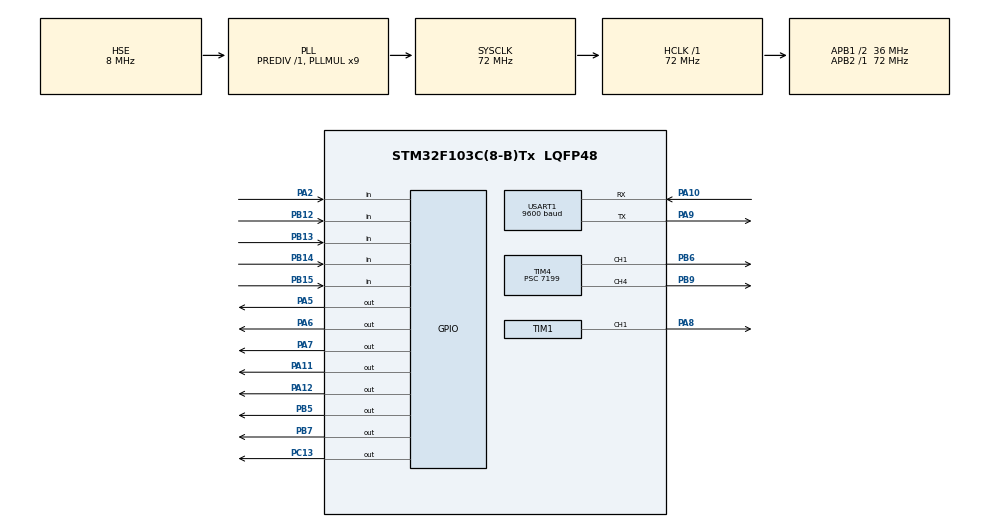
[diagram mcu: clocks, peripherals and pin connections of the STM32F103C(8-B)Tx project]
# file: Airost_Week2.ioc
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Mcu.Family=STM32F1
Mcu.Name=STM32F103C(8-B)Tx
Mcu.Package=LQFP48
NVIC.PriorityGroup=NVIC_PRIORITYGROUP_4
NVIC.USART1_IRQn=true\:0\:0\:false\:false\:true\:true\:true\:true
PA10.Mode=Asynchronous
PA10.Signal=USART1_RX
PA11.Signal=GPIO_Output
PA12.Signal=GPIO_Output
PA13.Mode=Serial_Wire
PA13.Signal=SYS_JTMS-SWDIO
PA14.Mode=Serial_Wire
PA14.Signal=SYS_JTCK-SWCLK
PA2.GPIO_PuPd=GPIO_PULLUP
PA2.Signal=GPIO_Input
PA5.Signal=GPIO_Output
PA6.Signal=GPIO_Output
PA7.Signal=GPIO_Output
PA8.Signal=S_TIM1_CH1
PA9.Mode=Asynchronous
PA9.Signal=USART1_TX
PB12.Signal=GPIO_Input
PB13.Signal=GPIO_Input
PB14.Signal=GPIO_Input
PB15.Signal=GPIO_Input
PB5.Signal=GPIO_Output
PB6.Signal=S_TIM4_CH1
PB7.Signal=GPIO_Output
PB9.Signal=S_TIM4_CH4
PC13-TAMPER-RTC.Signal=GPIO_Output
PD0-OSC_IN.Mode=HSE-External-Oscillator
PD0-OSC_IN.Signal=RCC_OSC_IN
PD1-OSC_OUT.Mode=HSE-External-Oscillator
PD1-OSC_OUT.Signal=RCC_OSC_OUT
ProjectManager.HeapSize=0x200
ProjectManager.StackSize=0x400
ProjectManager.TargetToolchain=STM32CubeIDE
RCC.AHBFreq_Value=72000000
RCC.APB1CLKDivider=RCC_HCLK_DIV2
RCC.APB1Freq_Value=36000000
RCC.APB1TimFreq_Value=72000000
RCC.APB2Freq_Value=72000000
RCC.APB2TimFreq_Value=72000000
RCC.HCLKFreq_Value=72000000
RCC.PLLMUL=RCC_PLL_MUL9
RCC.PLLSourceVirtual=RCC_PLLSOURCE_HSE
RCC.SYSCLKFreq_VALUE=72000000
RCC.SYSCLKSource=RCC_SYSCLKSOURCE_PLLCLK
RCC.USBFreq_Value=72000000
SH.S_TIM1_CH1.0=TIM1_CH1,PWM Generation1 CH1
SH.S_TIM4_CH1.0=TIM4_CH1,PWM Generation1 CH1
SH.S_TIM4_CH4.0=TIM4_CH4,PWM Generation4 CH4
TIM1.Channel-PWM\ Generation1\ CH1=TIM_CHANNEL_1
TIM1.Period=199
TIM1.Prescaler=7199
TIM4.Channel-PWM\ Generation1\ CH1=TIM_CHANNEL_1
TIM4.Channel-PWM\ Generation4\ CH4=TIM_CHANNEL_4
TIM4.Period=199
TIM4.Prescaler=7199
USART1.BaudRate=9600
USART1.VirtualMode=VM_ASYNC
VP_TIM1_VS_ClockSourceINT.Mode=Internal
VP_TIM4_VS_ClockSourceINT.Mode=Internal
board=custom

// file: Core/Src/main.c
/* USER CODE BEGIN Header */
/**
  ******************************************************************************
  * @file           : main.c
  * @brief          : Main program body
  ******************************************************************************
  * @attention
  *
  * Copyright (c) 2025 STMicroelectronics.
  * All rights reserved.
  *
  * This software is licensed under terms that can be found in the LICENSE file
  * in the root directory of this software component.
  * If no LICENSE file comes with this software, it is provided AS-IS.
  *
  ******************************************************************************
  */
/* USER CODE END Header */
#include "main.h"

/* USER CODE BEGIN Includes */
#include <stdio.h>
#include <string.h>
/* USER CODE END Includes */

TIM_HandleTypeDef htim1;
TIM_HandleTypeDef htim4;

UART_HandleTypeDef huart1;

/* USER CODE BEGIN PV */
uint8_t rxByte;
uint8_t buttonPrev = 1;
uint32_t buttonDebounce = 0;
volatile uint8_t mode = 1;
volatile uint8_t manualReturnFlag = 0;
uint8_t prev_mode = 1;
volatile uint8_t control = 's';
volatile uint8_t servo = 'R';
char uartBuffer[32];
uint8_t uartIndex = 0;
volatile uint16_t SB=600, J1B=6000, J1F=125, J2B=1500, J2F=125, R1B=500, RBS=6000, LL=1000, RB=8000, RIF=120, CD2 =400;
uint8_t irValue = 0;

static uint8_t case2_triggered = 0;
static uint32_t case2_startTick = 0;
static uint8_t junctionDetected = 0;
static uint32_t cooldown1 = 0;
static uint16_t junctionCounter = 0;
static uint32_t junctionStartTime = 0;
static uint8_t lastSent = 0;

static uint8_t junction2Detected = 0;
static uint32_t cooldown2 = 0;
static uint16_t junction2Counter = 0;
static uint32_t junction2StartTime = 0;
static uint8_t lastSentJ2 = 0;
static uint8_t j2StopTrigger = 0;
static uint32_t j2StartTick = 0;

static uint32_t RotateStartTime = 0;
static uint8_t rotated = 0;
static uint32_t settleStart = 0;

static uint32_t RotateBackStartTime = 0;
static uint8_t reach = 0;

static uint32_t ReturnStartTime = 0;
static uint8_t returnIndicationDetected = 0;
static uint16_t returnIndicationCounter = 0;
static uint32_t returnIndicationStartTime = 0;
/* USER CODE END PV */

void SystemClock_Config(void);
static void MX_GPIO_Init(void);
static void MX_USART1_UART_Init(void);
static void MX_TIM1_Init(void);
static void MX_TIM4_Init(void);

/* USER CODE BEGIN 0 */
void Forward(void);
void ForwardFast(void);
void Backward(void);
void Left(void);
void LeftFast(void);
void Right(void);
void Stop(void);
void Grip(void);
void Release(void);
void ModeLED(uint8_t);
void parseCommand(char *);
void parseMultipleCommands(char *);
/* USER CODE END 0 */

int main(void)
{

  /* MCU Configuration--------------------------------------------------------*/

  /* Reset of all peripherals, Initializes the Flash interface and the Systick. */
  HAL_Init();

  /* Configure the system clock */
  SystemClock_Config();

  /* Initialize all configured peripherals */
  MX_GPIO_Init();
  MX_USART1_UART_Init();
  MX_TIM1_Init();
  MX_TIM4_Init();
  /* USER CODE BEGIN 2 */
  HAL_UART_Receive_IT(&huart1, &rxByte, 1);
  HAL_TIM_PWM_Start(&htim1, TIM_CHANNEL_1); // motor
  HAL_TIM_PWM_Start(&htim4, TIM_CHANNEL_1); // motor
  HAL_TIM_PWM_Start(&htim4, TIM_CHANNEL_4); // servo
  __HAL_TIM_SET_COMPARE(&htim4, TIM_CHANNEL_4, 24);

  /* USER CODE END 2 */

  /* Infinite loop */
  while (1)
  {

    /* USER CODE BEGIN 3 */
	uint8_t buttonNow = HAL_GPIO_ReadPin(GPIOA, GPIO_PIN_2);

	if (buttonPrev == 1 && buttonNow == 0)
	{
	    if (HAL_GetTick() - buttonDebounce > 10)
	    {
	        mode++;
	        if (mode > 4)
	        	mode = 1;
	        buttonDebounce = HAL_GetTick();
	    }
	}

	buttonPrev = buttonNow;

	irValue =  (HAL_GPIO_ReadPin(GPIOB, GPIO_PIN_12) << 3)|(HAL_GPIO_ReadPin(GPIOB, GPIO_PIN_13) << 2)|
			(HAL_GPIO_ReadPin(GPIOB, GPIO_PIN_14) << 1)|HAL_GPIO_ReadPin(GPIOB, GPIO_PIN_15);

	if (mode != prev_mode)
	{
		case2_triggered = 0;
		prev_mode = mode;
		ModeLED(mode);
	}

	switch(mode)
	{
		case 1:
		  switch(control)
		  {
			  case 'f': Forward(); break;
			  case 'b': Backward(); break;
			  case 'l': Left(); break;
			  case 'r': Right(); break;
			  case 's': Stop(); break;
			  default: Stop(); break;
		  }
		  switch(servo)
		  {
			  case 'G': Grip(); break;
			  case 'R': Release(); break;
		  }
		  break;
		case 2:
		case 3:
		case 4:
			if(!case2_triggered && (irValue == 0x0))
			{
			    Forward();
			    case2_triggered = 1;
			    case2_startTick = HAL_GetTick();

			    junctionStartTime = 0;
			    junctionDetected = 0;
			    junctionCounter = 0;
			    cooldown1 = 0;
			    lastSent = 0;

			    junction2StartTime = 0;
			    junction2Detected = 0;
			    junction2Counter = 0;
			    cooldown2 = 0;
			    lastSentJ2 = 0;

			    RotateStartTime = 0;
			    rotated = 0;

			    RotateBackStartTime = 0;
			    reach = 0;

			    ReturnStartTime = 0;
			    returnIndicationStartTime = 0;
			    returnIndicationCounter = 0;
			    returnIndicationDetected = 0;

			    j2StopTrigger = 0;
			}

			if(case2_triggered && !j2StopTrigger)
			{
				if(HAL_GetTick() - case2_startTick >= SB)
				{
					if ((mode == 3 && junctionCounter >= 2 && junction2Counter <= 1) ||
							(mode == 4 && junctionCounter >= 2 && junction2Counter <= 2))
					{
						switch(irValue)
						{
							case 0b0110:case 0b1110:
								Forward();
								break;
							case 0b0100:case 0b1000:case 0b1100:
								Left();
								break;
							case 0b0010:case 0b0001:case 0b0011:case 0b0111:case 0b0000:case 0b1111:
								Right();
								break;
							default:
								Stop();
								break;
						}
					}
					else if((mode == 4 && junctionCounter >= 2 && junction2Counter > 2)||(mode == 3 && junctionCounter >= 2 && junction2Counter > 1))
					{
						switch(irValue)
						{
							case 0b0110:case 0b1110:
								Forward();
								break;
							case 0b0100:case 0b1000:case 0b1100:case 0b0000:case 0b1111:
								Left();
								break;
							case 0b0010:case 0b0001:case 0b0011:case 0b0111:
								Right();
								break;
							default:
								Stop();
								break;
						}
					}
					else
					{
						switch(irValue)
						{
							case 0b0110:
								Forward();
								break;
							case 0b0100:case 0b1110:case 0b1000:case 0b1100:
								Left();
								break;
							case 0b0010:case 0b0001:case 0b0011:case 0b0111:case 0b0000:case 0b1111:
								Right();
								break;
							default:
								Stop();
								break;
						}
					}

			        if(HAL_GetTick() - case2_startTick >= J1B)
			        {
						if (irValue == 0b0111)
						{
		                    if(junctionStartTime == 0)
		                        junctionStartTime = HAL_GetTick();
		                    else if(HAL_GetTick() - junctionStartTime >= J1F)
		                    {
		                        if(!junctionDetected && (HAL_GetTick() - cooldown1 >= 3000))
		                        {
		                            junctionCounter++;
		                            junctionDetected = 1;
		                            cooldown1 = HAL_GetTick();
		                        }
		                    }
						}

		                else
		                {
		                    junctionStartTime = 0;
		                    junctionDetected = 0;
		                }

						if (junctionCounter != lastSent)
						{
							char msg[20];
							int len = sprintf(msg, "J:%d\n", junctionCounter);
							HAL_UART_Transmit(&huart1, (uint16_t*)msg, len, 10);
							lastSent = junctionCounter;
						}
			        }

			        if(junctionCounter >= 2)
					{
			            if(j2StartTick == 0)
			            	j2StartTick = HAL_GetTick();

			            if(HAL_GetTick() - j2StartTick >= J2B)
			            {
			            	if(irValue == 0b1110)
			            	{
								if(junction2StartTime == 0)
									junction2StartTime = HAL_GetTick();
								else if(HAL_GetTick() - junction2StartTime >= J2F)
								{
									if(!junction2Detected && (HAL_GetTick()-cooldown2 >= CD2))
									{
										junction2Counter++;
										junction2Detected = 1;
										cooldown2 = HAL_GetTick();
										if(junction2Counter >= mode-1)
										{
											j2StopTrigger = 1;
											Stop();
										}
									}
								}
			            	}
			            	else
			            	{
			            		junction2StartTime = 0;
								junction2Detected = 0;
			            	}
			            	if(junction2Counter != lastSentJ2)
			            	{
								char msg2[20];
								int len2 = sprintf(msg2, "J2:%d\n", junction2Counter);
								HAL_UART_Transmit(&huart1, (uint8_t*)msg2, len2, 10);
								lastSentJ2 = junction2Counter;
			            	}
			            }
					}
			        else
			        {
			        	j2StartTick = 0;
			        }
				}
			}
			else if (j2StopTrigger == 1)
			{
			    if (RotateStartTime == 0)
			    {
			    	Left();
			    	RotateStartTime = HAL_GetTick();
			    }

			    if (!rotated && (HAL_GetTick() - RotateStartTime >= R1B))
			    {
			        if (irValue == 0b0110)
			        {
			        	rotated = 1;
			        	settleStart = HAL_GetTick();
			            Stop();
			        }
			    }

			    if (rotated)
				{
			        if (HAL_GetTick() - settleStart < 100)
			        {
			            Stop();
			        }
			        else
			        {
			        	switch(irValue)
						{
							case 0b0110:
								Forward();
								break;
							case 0b0100:case 0b1110:case 0b1000:case 0b1100:case 0b0000:
								Left();
								break;
							case 0b0010:case 0b0001:case 0b0011:case 0b0111:
								Right();
								break;
							case 0b1111:
								j2StopTrigger=2;
								Grip();
								break;
							default:
								Stop();
								break;
						}
			        }
				}
			}
			else if(j2StopTrigger == 2)
			{
				if(manualReturnFlag == 1)
				{
					mode = 1;
				}

				if(RotateBackStartTime == 0)
				{
					LeftFast();
					RotateBackStartTime = HAL_GetTick();
				}

				if (HAL_GetTick() - RotateBackStartTime < RBS)
				{
					if(!reach && (HAL_GetTick() - RotateBackStartTime >= LL))
					{
						LeftFast();

						if (irValue == 0b0110)
						{
							reach = 1;
							settleStart = HAL_GetTick();
							Stop();
						}
					}
					else if(reach)
					{
						if(HAL_GetTick() - settleStart < 200)
							Stop();
						else
						{
							if (mode==2 || mode==3)
							{
								switch(irValue)
								{
									case 0b0110:case 0b1111:
										ForwardFast();
										break;
									case 0b0100:case 0b1000:case 0b1100:case 0b1110:
										Left();
										break;
									case 0b0010:case 0b0001:case 0b0011:case 0b0111:case 0b0000:
										Right();
										break;
									default:
										Left();
										break;
								}
							}
							else
							{
								switch(irValue)
								{
									case 0b0110:case 0b1111:
										ForwardFast();
										break;
									case 0b0100:case 0b1000:case 0b1100:case 0b1110:
										Left();
										break;
									case 0b0010:case 0b0001:case 0b0011:case 0b0111:case 0b0000:
										Right();
										break;
									default:
										Left();
										break;
								}
							}
						}
					}
				}
				else
					j2StopTrigger = 3;
			}
			else if(j2StopTrigger==3)
			{
				if (ReturnStartTime == 0)
					ReturnStartTime = HAL_GetTick();

				switch(irValue)
				{
					case 0b0110:
						Forward();
						break;
					case 0b0100:case 0b1110:case 0b1000:case 0b1100:case 0b0000:case 0b1111:
						Left();
						break;
					case 0b0010:case 0b0001:case 0b0011:case 0b0111:
						Right();
						break;
					default:
						Left();
						break;
				}

		        if(HAL_GetTick() - ReturnStartTime >= RB)
		        {
					if (irValue == 0b1111)
					{
	                    if(returnIndicationStartTime == 0)
	                    	returnIndicationStartTime = HAL_GetTick();
	                    else if(HAL_GetTick() - returnIndicationStartTime >= RIF)
	                    {
	                        if(!returnIndicationDetected)
	                        {
	                            returnIndicationCounter++;
	                            returnIndicationDetected = 1;
	                        }
	                    }
					}

	                else
	                {
	                	returnIndicationStartTime = 0;
	                	returnIndicationDetected = 0;
	                }

					if (returnIndicationCounter==1)
					{
						j2StopTrigger = 4;
						Stop();
					}
		        }
			}
			else if (j2StopTrigger == 4)
			{
				Stop();
				Release();
			}
			break;
		default:
			break;
	}
  }
  /* USER CODE END 3 */
}

void SystemClock_Config(void)
{
  RCC_OscInitTypeDef RCC_OscInitStruct = {0};
  RCC_ClkInitTypeDef RCC_ClkInitStruct = {0};

  /** Initializes the RCC Oscillators according to the specified parameters
  * in the RCC_OscInitTypeDef structure.
  */
  RCC_OscInitStruct.OscillatorType = RCC_OSCILLATORTYPE_HSE;
  RCC_OscInitStruct.HSEState = RCC_HSE_ON;
  RCC_OscInitStruct.HSEPredivValue = RCC_HSE_PREDIV_DIV1;
  RCC_OscInitStruct.HSIState = RCC_HSI_ON;
  RCC_OscInitStruct.PLL.PLLState = RCC_PLL_ON;
  RCC_OscInitStruct.PLL.PLLSource = RCC_PLLSOURCE_HSE;
  RCC_OscInitStruct.PLL.PLLMUL = RCC_PLL_MUL9;
  if (HAL_RCC_OscConfig(&RCC_OscInitStruct) != HAL_OK)
  {
    Error_Handler();
  }

  /** Initializes the CPU, AHB and APB buses clocks
  */
  RCC_ClkInitStruct.ClockType = RCC_CLOCKTYPE_HCLK|RCC_CLOCKTYPE_SYSCLK
                              |RCC_CLOCKTYPE_PCLK1|RCC_CLOCKTYPE_PCLK2;
  RCC_ClkInitStruct.SYSCLKSource = RCC_SYSCLKSOURCE_PLLCLK;
  RCC_ClkInitStruct.AHBCLKDivider = RCC_SYSCLK_DIV1;
  RCC_ClkInitStruct.APB1CLKDivider = RCC_HCLK_DIV2;
  RCC_ClkInitStruct.APB2CLKDivider = RCC_HCLK_DIV1;

  if (HAL_RCC_ClockConfig(&RCC_ClkInitStruct, FLASH_LATENCY_2) != HAL_OK)
  {
    Error_Handler();
  }
}

static void MX_TIM1_Init(void)
{

  TIM_ClockConfigTypeDef sClockSourceConfig = {0};
  TIM_MasterConfigTypeDef sMasterConfig = {0};
  TIM_OC_InitTypeDef sConfigOC = {0};
  TIM_BreakDeadTimeConfigTypeDef sBreakDeadTimeConfig = {0};

  htim1.Instance = TIM1;
  htim1.Init.Prescaler = 7199;
  htim1.Init.CounterMode = TIM_COUNTERMODE_UP;
  htim1.Init.Period = 199;
  htim1.Init.ClockDivision = TIM_CLOCKDIVISION_DIV1;
  htim1.Init.RepetitionCounter = 0;
  htim1.Init.AutoReloadPreload = TIM_AUTORELOAD_PRELOAD_DISABLE;
  if (HAL_TIM_Base_Init(&htim1) != HAL_OK)
  {
    Error_Handler();
  }
  sClockSourceConfig.ClockSource = TIM_CLOCKSOURCE_INTERNAL;
  if (HAL_TIM_ConfigClockSource(&htim1, &sClockSourceConfig) != HAL_OK)
  {
    Error_Handler();
  }
  if (HAL_TIM_PWM_Init(&htim1) != HAL_OK)
  {
    Error_Handler();
  }
  sMasterConfig.MasterOutputTrigger = TIM_TRGO_RESET;
  sMasterConfig.MasterSlaveMode = TIM_MASTERSLAVEMODE_DISABLE;
  if (HAL_TIMEx_MasterConfigSynchronization(&htim1, &sMasterConfig) != HAL_OK)
  {
    Error_Handler();
  }
  sConfigOC.OCMode = TIM_OCMODE_PWM1;
  sConfigOC.Pulse = 0;
  sConfigOC.OCPolarity = TIM_OCPOLARITY_HIGH;
  sConfigOC.OCNPolarity = TIM_OCNPOLARITY_HIGH;
  sConfigOC.OCFastMode = TIM_OCFAST_DISABLE;
  sConfigOC.OCIdleState = TIM_OCIDLESTATE_RESET;
  sConfigOC.OCNIdleState = TIM_OCNIDLESTATE_RESET;
  if (HAL_TIM_PWM_ConfigChannel(&htim1, &sConfigOC, TIM_CHANNEL_1) != HAL_OK)
  {
    Error_Handler();
  }
  sBreakDeadTimeConfig.OffStateRunMode = TIM_OSSR_DISABLE;
  sBreakDeadTimeConfig.OffStateIDLEMode = TIM_OSSI_DISABLE;
  sBreakDeadTimeConfig.LockLevel = TIM_LOCKLEVEL_OFF;
  sBreakDeadTimeConfig.DeadTime = 0;
  sBreakDeadTimeConfig.BreakState = TIM_BREAK_DISABLE;
  sBreakDeadTimeConfig.BreakPolarity = TIM_BREAKPOLARITY_HIGH;
  sBreakDeadTimeConfig.AutomaticOutput = TIM_AUTOMATICOUTPUT_DISABLE;
  if (HAL_TIMEx_ConfigBreakDeadTime(&htim1, &sBreakDeadTimeConfig) != HAL_OK)
  {
    Error_Handler();
  }
  HAL_TIM_MspPostInit(&htim1);

}

static void MX_TIM4_Init(void)
{

  TIM_ClockConfigTypeDef sClockSourceConfig = {0};
  TIM_MasterConfigTypeDef sMasterConfig = {0};
  TIM_OC_InitTypeDef sConfigOC = {0};

  htim4.Instance = TIM4;
  htim4.Init.Prescaler = 7199;
  htim4.Init.CounterMode = TIM_COUNTERMODE_UP;
  htim4.Init.Period = 199;
  htim4.Init.ClockDivision = TIM_CLOCKDIVISION_DIV1;
  htim4.Init.AutoReloadPreload = TIM_AUTORELOAD_PRELOAD_DISABLE;
  if (HAL_TIM_Base_Init(&htim4) != HAL_OK)
  {
    Error_Handler();
  }
  sClockSourceConfig.ClockSource = TIM_CLOCKSOURCE_INTERNAL;
  if (HAL_TIM_ConfigClockSource(&htim4, &sClockSourceConfig) != HAL_OK)
  {
    Error_Handler();
  }
  if (HAL_TIM_PWM_Init(&htim4) != HAL_OK)
  {
    Error_Handler();
  }
  sMasterConfig.MasterOutputTrigger = TIM_TRGO_RESET;
  sMasterConfig.MasterSlaveMode = TIM_MASTERSLAVEMODE_DISABLE;
  if (HAL_TIMEx_MasterConfigSynchronization(&htim4, &sMasterConfig) != HAL_OK)
  {
    Error_Handler();
  }
  sConfigOC.OCMode = TIM_OCMODE_PWM1;
  sConfigOC.Pulse = 0;
  sConfigOC.OCPolarity = TIM_OCPOLARITY_HIGH;
  sConfigOC.OCFastMode = TIM_OCFAST_DISABLE;
  if (HAL_TIM_PWM_ConfigChannel(&htim4, &sConfigOC, TIM_CHANNEL_1) != HAL_OK)
  {
    Error_Handler();
  }
  if (HAL_TIM_PWM_ConfigChannel(&htim4, &sConfigOC, TIM_CHANNEL_4) != HAL_OK)
  {
    Error_Handler();
  }
  HAL_TIM_MspPostInit(&htim4);

}

static void MX_USART1_UART_Init(void)
{

  huart1.Instance = USART1;
  huart1.Init.BaudRate = 9600;
  huart1.Init.WordLength = UART_WORDLENGTH_8B;
  huart1.Init.StopBits = UART_STOPBITS_1;
  huart1.Init.Parity = UART_PARITY_NONE;
  huart1.Init.Mode = UART_MODE_TX_RX;
  huart1.Init.HwFlowCtl = UART_HWCONTROL_NONE;
  huart1.Init.OverSampling = UART_OVERSAMPLING_16;
  if (HAL_UART_Init(&huart1) != HAL_OK)
  {
    Error_Handler();
  }

}

static void MX_GPIO_Init(void)
{
  GPIO_InitTypeDef GPIO_InitStruct = {0};

  /* GPIO Ports Clock Enable */
  __HAL_RCC_GPIOC_CLK_ENABLE();
  __HAL_RCC_GPIOD_CLK_ENABLE();
  __HAL_RCC_GPIOA_CLK_ENABLE();
  __HAL_RCC_GPIOB_CLK_ENABLE();

  /*Configure GPIO pin Output Level */
  HAL_GPIO_WritePin(GPIOC, GPIO_PIN_13, GPIO_PIN_RESET);

  /*Configure GPIO pin Output Level */
  HAL_GPIO_WritePin(GPIOA, GPIO_PIN_5|GPIO_PIN_6|GPIO_PIN_7|GPIO_PIN_11
                          |GPIO_PIN_12, GPIO_PIN_RESET);

  /*Configure GPIO pin Output Level */
  HAL_GPIO_WritePin(GPIOB, GPIO_PIN_5|GPIO_PIN_7, GPIO_PIN_RESET);

  /*Configure GPIO pin : PC13 */
  GPIO_InitStruct.Pin = GPIO_PIN_13;
  GPIO_InitStruct.Mode = GPIO_MODE_OUTPUT_PP;
  GPIO_InitStruct.Pull = GPIO_NOPULL;
  GPIO_InitStruct.Speed = GPIO_SPEED_FREQ_LOW;
  HAL_GPIO_Init(GPIOC, &GPIO_InitStruct);

  /*Configure GPIO pin : PA2 */
  GPIO_InitStruct.Pin = GPIO_PIN_2;
  GPIO_InitStruct.Mode = GPIO_MODE_INPUT;
  GPIO_InitStruct.Pull = GPIO_PULLUP;
  HAL_GPIO_Init(GPIOA, &GPIO_InitStruct);

  /*Configure GPIO pins : PA5 PA6 PA7 PA11
                           PA12 */
  GPIO_InitStruct.Pin = GPIO_PIN_5|GPIO_PIN_6|GPIO_PIN_7|GPIO_PIN_11
                          |GPIO_PIN_12;
  GPIO_InitStruct.Mode = GPIO_MODE_OUTPUT_PP;
  GPIO_InitStruct.Pull = GPIO_NOPULL;
  GPIO_InitStruct.Speed = GPIO_SPEED_FREQ_LOW;
  HAL_GPIO_Init(GPIOA, &GPIO_InitStruct);

  /*Configure GPIO pins : PB12 PB13 PB14 PB15 */
  GPIO_InitStruct.Pin = GPIO_PIN_12|GPIO_PIN_13|GPIO_PIN_14|GPIO_PIN_15;
  GPIO_InitStruct.Mode = GPIO_MODE_INPUT;
  GPIO_InitStruct.Pull = GPIO_NOPULL;
  HAL_GPIO_Init(GPIOB, &GPIO_InitStruct);

  /*Configure GPIO pins : PB5 PB7 */
  GPIO_InitStruct.Pin = GPIO_PIN_5|GPIO_PIN_7;
  GPIO_InitStruct.Mode = GPIO_MODE_OUTPUT_PP;
  GPIO_InitStruct.Pull = GPIO_NOPULL;
  GPIO_InitStruct.Speed = GPIO_SPEED_FREQ_LOW;
  HAL_GPIO_Init(GPIOB, &GPIO_InitStruct);

}

/* USER CODE BEGIN 4 */
void HAL_UART_RxCpltCallback(UART_HandleTypeDef *huart)
{
	if (huart->Instance == USART1)
	{
	    if (rxByte != '\n' && rxByte != '\r')
	    {
	        if (uartIndex < sizeof(uartBuffer) - 1)
	            uartBuffer[uartIndex++] = rxByte;
	        else
	            uartIndex = 0;
	    }
	    else
	    {
	        if (uartIndex == 0)
	        {
	            HAL_UART_Receive_IT(&huart1, &rxByte, 1);
	            return;
	        }
	        uartBuffer[uartIndex] = '\0';

	        if (strchr(uartBuffer, '=') != NULL)
	        {
	            parseMultipleCommands(uartBuffer);
	        }
	        else if (uartIndex == 1)
	        {
	            char c = uartBuffer[0];

	            switch(c)
	            {
	                case 'm': mode = 1; break;
	                case '1': manualReturnFlag = 0; mode = 2; break;
	                case '2': manualReturnFlag = 0; mode = 3; break;
	                case '3': manualReturnFlag = 0; mode = 4; break;

	                case 'f':
	                case 'b':
	                case 'l':
	                case 'r':
	                case 's':
	                    if (mode == 1) control = c;
	                    break;

	                case 'G':
	                case 'R':
	                    if (mode == 1) servo = c;
	                    break;

	                default:
	                    break;
	            }
	        }
	        uartIndex = 0;
	    }
	    HAL_UART_Receive_IT(&huart1, &rxByte, 1);
	}
}

void parseCommand(char *cmd)
{
    char name[10];
    int value;

    if (sscanf(cmd, "%[^=]=%d", name, &value) == 2)
    {
        if (value < 0) value = 0;
        if (value > 10000) value = 10000;

        if      (strcmp(name, "SB") == 0)   SB = value;
        else if (strcmp(name, "J1B") == 0)  J1B = value;
        else if (strcmp(name, "J1F") == 0)  J1F = value;
        else if (strcmp(name, "J2B") == 0)  J2B = value;
        else if (strcmp(name, "J2F") == 0)  J2F = value;
        else if (strcmp(name, "R1B") == 0)  R1B = value;
        else if (strcmp(name, "RBS") == 0)  RBS = value;
        else if (strcmp(name, "LL") == 0)  LL = value;
        else if (strcmp(name, "CD2") == 0)  CD2 = value;
        else if (strcmp(name, "1m") == 0)  {mode = 2 ; manualReturnFlag = value;}
        else if (strcmp(name, "2m") == 0)  {mode = 3 ; manualReturnFlag = value;}
        else if (strcmp(name, "3m") == 0)  {mode = 4 ; manualReturnFlag = value;}
        else if (strcmp(name, "RB") == 0)   RB = value;
        else if (strcmp(name, "RIF") == 0)  RIF = value;
    }
}

void parseMultipleCommands(char *line)
{
    char *cmd = strtok(line, ",");

    while (cmd != NULL)
    {
        parseCommand(cmd);
        cmd = strtok(NULL, ",");
    }
}

void ModeLED(uint8_t mode)
{
    HAL_GPIO_WritePin(GPIOA, GPIO_PIN_5, (mode & 0x01) ? 1 : 0);
    HAL_GPIO_WritePin(GPIOA, GPIO_PIN_6, (mode & 0x02) ? 1 : 0);
    HAL_GPIO_WritePin(GPIOA, GPIO_PIN_7, (mode & 0x04) ? 1 : 0);
}

void Forward(void)
{
	__HAL_TIM_SET_COMPARE(&htim1, TIM_CHANNEL_1, 59);
	__HAL_TIM_SET_COMPARE(&htim4, TIM_CHANNEL_1, 59);
	HAL_GPIO_WritePin(GPIOB, GPIO_PIN_5, 1);
	HAL_GPIO_WritePin(GPIOB, GPIO_PIN_7, 1);
	HAL_GPIO_WritePin(GPIOA, GPIO_PIN_11, 0);
	HAL_GPIO_WritePin(GPIOA, GPIO_PIN_12, 0);
}

void ForwardFast(void)
{
	__HAL_TIM_SET_COMPARE(&htim1, TIM_CHANNEL_1, 79);
	__HAL_TIM_SET_COMPARE(&htim4, TIM_CHANNEL_1, 79);
	HAL_GPIO_WritePin(GPIOB, GPIO_PIN_5, 1);
	HAL_GPIO_WritePin(GPIOB, GPIO_PIN_7, 1);
	HAL_GPIO_WritePin(GPIOA, GPIO_PIN_11, 0);
	HAL_GPIO_WritePin(GPIOA, GPIO_PIN_12, 0);
}

void Backward(void)
{
	__HAL_TIM_SET_COMPARE(&htim1, TIM_CHANNEL_1, 49);
	__HAL_TIM_SET_COMPARE(&htim4, TIM_CHANNEL_1, 49);
	HAL_GPIO_WritePin(GPIOB, GPIO_PIN_5, 0);
	HAL_GPIO_WritePin(GPIOB, GPIO_PIN_7, 0);
	HAL_GPIO_WritePin(GPIOA, GPIO_PIN_11, 1);
	HAL_GPIO_WritePin(GPIOA, GPIO_PIN_12, 1);
}

void Left(void)
{
	__HAL_TIM_SET_COMPARE(&htim1, TIM_CHANNEL_1, 54);
	__HAL_TIM_SET_COMPARE(&htim4, TIM_CHANNEL_1, 54);
	HAL_GPIO_WritePin(GPIOB, GPIO_PIN_5, 0);
	HAL_GPIO_WritePin(GPIOB, GPIO_PIN_7, 1);
	HAL_GPIO_WritePin(GPIOA, GPIO_PIN_11, 0);
	HAL_GPIO_WritePin(GPIOA, GPIO_PIN_12, 1);
}

void LeftFast(void)
{
	__HAL_TIM_SET_COMPARE(&htim1, TIM_CHANNEL_1, 69);
	__HAL_TIM_SET_COMPARE(&htim4, TIM_CHANNEL_1, 69);
	HAL_GPIO_WritePin(GPIOB, GPIO_PIN_5, 0);
	HAL_GPIO_WritePin(GPIOB, GPIO_PIN_7, 1);
	HAL_GPIO_WritePin(GPIOA, GPIO_PIN_11, 0);
	HAL_GPIO_WritePin(GPIOA, GPIO_PIN_12, 1);
}

void Right(void)
{
	__HAL_TIM_SET_COMPARE(&htim1, TIM_CHANNEL_1, 54);
	__HAL_TIM_SET_COMPARE(&htim4, TIM_CHANNEL_1, 54);
	HAL_GPIO_WritePin(GPIOB, GPIO_PIN_5, 1);
	HAL_GPIO_WritePin(GPIOB, GPIO_PIN_7, 0);
	HAL_GPIO_WritePin(GPIOA, GPIO_PIN_11, 1);
	HAL_GPIO_WritePin(GPIOA, GPIO_PIN_12, 0);
}

void Stop(void)
{
	HAL_GPIO_WritePin(GPIOB, GPIO_PIN_5, 0);
	HAL_GPIO_WritePin(GPIOB, GPIO_PIN_7, 0);
	HAL_GPIO_WritePin(GPIOA, GPIO_PIN_11, 0);
	HAL_GPIO_WritePin(GPIOA, GPIO_PIN_12, 0);
}

void Grip(void)
{
	__HAL_TIM_SET_COMPARE(&htim4, TIM_CHANNEL_4, 18);
}

void Release(void)
{
	__HAL_TIM_SET_COMPARE(&htim4, TIM_CHANNEL_4, 24);
}

/* USER CODE END 4 */

void Error_Handler(void)
{
  __disable_irq();
  while (1)
  {
  }
}
